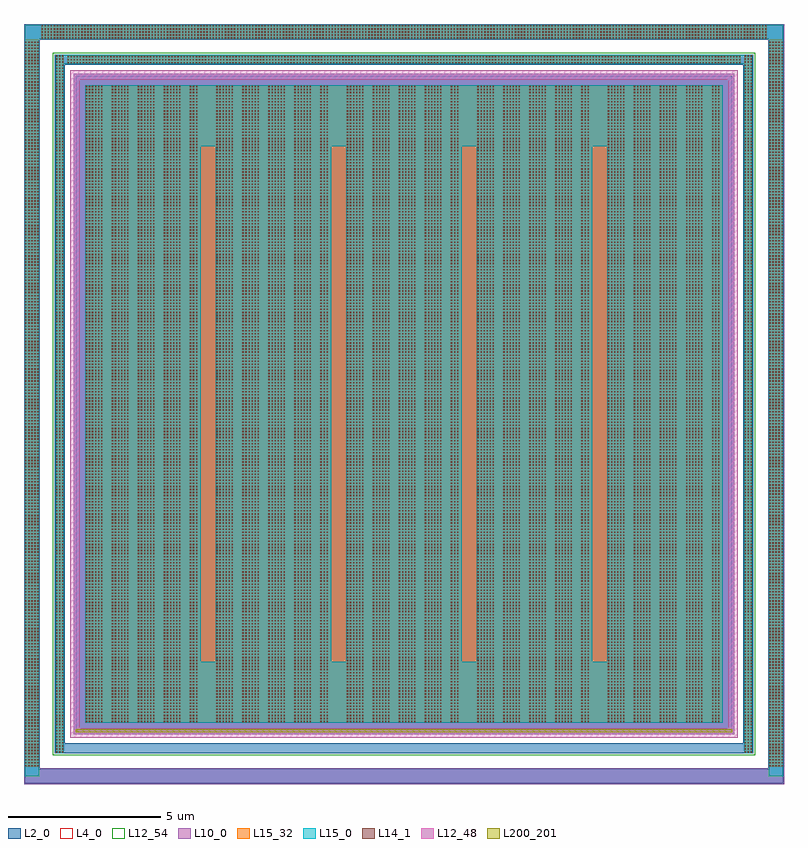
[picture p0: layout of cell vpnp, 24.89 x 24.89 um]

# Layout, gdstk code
import gdstk
lib = gdstk.Library(unit=1e-6, precision=1e-09)
def R(c, l, rs):  # rectangles x0, y0, x1, y1
    for r in rs: c.add(gdstk.rectangle(r[:2], r[2:], *l))
def A(c, l, x, y, w, h, nx, ny, dx, dy):  # array of equal rectangles
    R(c, l, [(x+i*dx, y+j*dy, x+i*dx+w, y+j*dy+h) for i in range(nx) for j in range(ny)])
L2_0 = (2, 0)
L4_0 = (4, 0)
L10_0 = (10, 0)
L12_48 = (12, 48)
L12_54 = (12, 54)
L14_1 = (14, 1)
L15_0 = (15, 0)
L15_32 = (15, 32)
L200_201 = (200, 201)

vpnp = lib.new_cell('vpnp')
R(vpnp, L2_0, [(-18.929,-10.959,5.923,-10.479), (-18.929,-10.479,-18.449,13.413), (5.443,-10.479,5.923,13.413), (-17.949,-9.979,4.943,-9.639), (-17.949,-9.639,-17.609,12.573), (4.603,-9.639,4.943,12.573), (-17.253,-9.283,4.247,12.217), (-17.949,12.573,4.943,12.913), (-18.929,13.413,5.923,13.893)])
R(vpnp, L4_0, [(-18.005,-10.035,4.999,12.969)])
R(vpnp, L10_0, [(-18.95,-10.98,5.944,-10.458), (-18.95,-10.458,-18.428,13.392), (5.422,-10.458,5.944,13.392), (-17.323,-9.353,4.317,12.287), (-18.95,13.392,5.944,13.914)])
R(vpnp, L12_48, [(-17.434,-9.464,4.428,-9.158), (-17.434,-9.158,-17.128,12.092), (4.122,-9.158,4.428,12.092), (-17.434,12.092,4.428,12.398)])
R(vpnp, L12_54, [(-18.005,-10.035,4.999,12.969)])
A(vpnp, L14_1, -18.909, -10.403, 0.04, 0.04, 5, 238, 0.1, 0.1)
A(vpnp, L14_1, 5.463, -10.403, 0.04, 0.04, 5, 238, 0.1, 0.1)
A(vpnp, L14_1, -17.899, -9.953, 0.04, 0.04, 3, 229, 0.1, 0.1)
A(vpnp, L14_1, 4.653, -9.953, 0.04, 0.04, 3, 229, 0.1, 0.1)
A(vpnp, L14_1, -16.923, -8.953, 0.04, 0.04, 6, 209, 0.1, 0.1)
A(vpnp, L14_1, -16.071, -8.953, 0.04, 0.04, 6, 209, 0.1, 0.1)
A(vpnp, L14_1, -15.219, -8.953, 0.04, 0.04, 6, 209, 0.1, 0.1)
A(vpnp, L14_1, -14.367, -8.953, 0.04, 0.04, 6, 209, 0.1, 0.1)
A(vpnp, L14_1, -13.515, -8.953, 0.04, 0.04, 3, 209, 0.1, 0.1)
A(vpnp, L14_1, -12.647, -8.953, 0.04, 0.04, 6, 209, 0.1, 0.1)
A(vpnp, L14_1, -11.795, -8.953, 0.04, 0.04, 6, 209, 0.1, 0.1)
A(vpnp, L14_1, -10.943, -8.953, 0.04, 0.04, 6, 209, 0.1, 0.1)
A(vpnp, L14_1, -10.091, -8.953, 0.04, 0.04, 6, 209, 0.1, 0.1)
A(vpnp, L14_1, -9.239, -8.953, 0.04, 0.04, 3, 209, 0.1, 0.1)
A(vpnp, L14_1, -8.372, -8.953, 0.04, 0.04, 6, 209, 0.1, 0.1)
A(vpnp, L14_1, -7.52, -8.953, 0.04, 0.04, 6, 209, 0.1, 0.1)
A(vpnp, L14_1, -6.668, -8.953, 0.04, 0.04, 6, 209, 0.1, 0.1)
A(vpnp, L14_1, -5.816, -8.953, 0.04, 0.04, 6, 209, 0.1, 0.1)
A(vpnp, L14_1, -4.964, -8.953, 0.04, 0.04, 3, 209, 0.1, 0.1)
A(vpnp, L14_1, -4.097, -8.953, 0.04, 0.04, 6, 209, 0.1, 0.1)
A(vpnp, L14_1, -3.245, -8.953, 0.04, 0.04, 6, 209, 0.1, 0.1)
A(vpnp, L14_1, -2.393, -8.953, 0.04, 0.04, 6, 209, 0.1, 0.1)
A(vpnp, L14_1, -1.541, -8.953, 0.04, 0.04, 6, 209, 0.1, 0.1)
A(vpnp, L14_1, -0.689, -8.953, 0.04, 0.04, 3, 209, 0.1, 0.1)
A(vpnp, L14_1, 0.178, -8.953, 0.04, 0.04, 6, 209, 0.1, 0.1)
A(vpnp, L14_1, 1.03, -8.953, 0.04, 0.04, 6, 209, 0.1, 0.1)
A(vpnp, L14_1, 1.882, -8.953, 0.04, 0.04, 6, 209, 0.1, 0.1)
A(vpnp, L14_1, 2.734, -8.953, 0.04, 0.04, 6, 209, 0.1, 0.1)
A(vpnp, L14_1, 3.586, -8.953, 0.04, 0.04, 3, 209, 0.1, 0.1)
A(vpnp, L14_1, -17.523, 12.623, 0.04, 0.04, 221, 3, 0.1, 0.1)
A(vpnp, L14_1, -18.373, 13.433, 0.04, 0.04, 238, 5, 0.1, 0.1)
A(vpnp, L15_0, -12.665, -6.971, 3.775, 16.876, 4, 1, 4.275, 0)
R(vpnp, L15_0, [(-18.927,-10.719,-18.451,13.891), (5.445,-10.719,5.921,13.891), (-17.917,-9.971,-17.641,12.905), (4.635,-9.971,4.911,12.905), (-16.941,-8.971,3.935,-6.971), (-16.941,-6.971,-13.166,9.905), (-16.941,9.905,3.935,11.905), (-17.641,12.605,4.635,12.905), (-18.451,13.415,5.445,13.891)])
R(vpnp, L15_32, [(-18.927,-10.421,-18.451,13.415), (5.445,-10.421,5.921,13.415), (-17.917,-9.971,-17.641,12.905), (4.635,-9.971,4.911,12.905), (-16.941,-8.971,3.935,11.905), (-17.541,12.605,4.535,12.881), (-18.391,13.415,5.385,13.891)])
R(vpnp, L200_201, [(-17.253,-9.283,4.247,-9.183)])

lib.write_gds('vpnp.gds')
